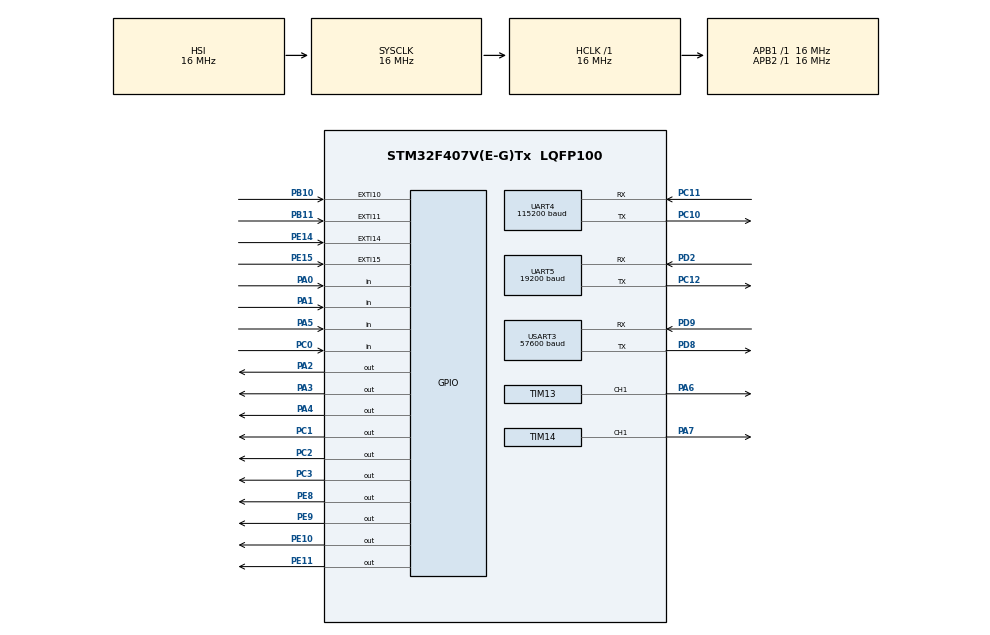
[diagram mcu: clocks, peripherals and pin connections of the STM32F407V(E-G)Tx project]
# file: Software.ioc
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Mcu.Family=STM32F4
NVIC.USART3_IRQn=true\:10\:0\:true\:false\:true\:true\:true\:true
Dma.USART3_RX.5.PeriphDataAlignment=DMA_PDATAALIGN_BYTE
PA6.GPIO_ModeDefaultPP=GPIO_MODE_AF_OD
Dma.UART5_TX.3.MemDataAlignment=DMA_MDATAALIGN_BYTE
PH0-OSC_IN.Signal=RCC_OSC_IN
VP_SYS_VS_tim6.Mode=TIM6
RCC.CortexFreq_Value=16000000
Dma.UART4_TX.2.Direction=DMA_MEMORY_TO_PERIPH
NVIC.TIM6_DAC_IRQn=true\:0\:0\:false\:false\:true\:false\:true\:true
TIM14.OCPolarity_1=TIM_OCPOLARITY_LOW
Dma.USART3_TX.1.MemInc=DMA_MINC_ENABLE
NVIC.DMA1_Stream2_IRQn=true\:5\:0\:false\:false\:true\:true\:false\:true
PC10.Signal=UART4_TX
PC12.Signal=UART5_TX
Dma.USART3_TX.1.PeriphDataAlignment=DMA_PDATAALIGN_BYTE
PA2.GPIO_Speed=GPIO_SPEED_FREQ_LOW
Dma.USART3_TX.1.Instance=DMA1_Stream3
PA3.GPIO_Speed=GPIO_SPEED_FREQ_LOW
PB11.Signal=GPXTI11
NVIC.DMA1_Stream4_IRQn=true\:5\:0\:false\:false\:true\:true\:false\:true
PD9.Mode=Asynchronous
TIM13.AutoReloadPreload=TIM_AUTORELOAD_PRELOAD_ENABLE
SH.S_TIM13_CH1.0=TIM13_CH1,PWM Generation1 CH1
Dma.UART5_TX.3.Direction=DMA_MEMORY_TO_PERIPH
ProjectManager.StackSize=0x400
PC3.PinState=GPIO_PIN_SET
VP_FREERTOS_VS_CMSIS_V2.Mode=CMSIS_V2
NVIC.UART5_IRQn=true\:10\:0\:true\:false\:true\:true\:true\:true
Dma.USART3_RX.5.MemInc=DMA_MINC_ENABLE
Dma.UART5_RX.4.MemDataAlignment=DMA_MDATAALIGN_BYTE
FREERTOS.configENABLE_FPU=1
Dma.UART5_TX.3.MemInc=DMA_MINC_ENABLE
USART3.BaudRate=57600
SH.S_TIM14_CH1.0=TIM14_CH1,PWM Generation1 CH1
UART4.BaudRate=115200
Dma.UART5_TX.3.FIFOMode=DMA_FIFOMODE_DISABLE
PC3.Signal=GPIO_Output
PD8.Signal=USART3_TX
PC1.PinState=GPIO_PIN_SET
RCC.AHBFreq_Value=16000000
PH0-OSC_IN.Mode=HSE-External-Oscillator
NVIC.EXTI15_10_IRQn=true\:5\:0\:true\:false\:true\:true\:true\:true
RCC.HSE_VALUE=25000000
NVIC.TIM8_TRG_COM_TIM14_IRQn=true\:5\:0\:false\:false\:true\:true\:true\:true
Dma.USART3_TX.1.Mode=DMA_NORMAL
TIM13.Pulse=42*10
TIM14.Period=42*20-1
Dma.UART4_RX.0.MemDataAlignment=DMA_MDATAALIGN_BYTE
PA4.GPIO_Speed=GPIO_SPEED_FREQ_LOW
Dma.UART4_TX.2.Instance=DMA1_Stream4
PA2.PinState=GPIO_PIN_SET
PC14-OSC32_IN.Mode=LSE-External-Oscillator
PE9.Signal=GPIO_Output
PA14.Mode=Serial_Wire
Dma.UART5_RX.4.Direction=DMA_PERIPH_TO_MEMORY
Dma.UART5_TX.3.Priority=DMA_PRIORITY_LOW
Dma.UART4_RX.0.PeriphDataAlignment=DMA_PDATAALIGN_BYTE
Dma.UART5_RX.4.Mode=DMA_NORMAL
PE10.Signal=GPIO_Output
Dma.USART3_TX.1.FIFOMode=DMA_FIFOMODE_DISABLE
Dma.USART3_TX.1.Priority=DMA_PRIORITY_LOW
NVIC.DMA1_Stream7_IRQn=true\:5\:0\:false\:false\:true\:true\:false\:true
Dma.UART4_TX.2.MemDataAlignment=DMA_MDATAALIGN_BYTE
Dma.UART4_TX.2.PeriphInc=DMA_PINC_DISABLE
PH1-OSC_OUT.Mode=HSE-External-Oscillator
Mcu.Package=LQFP100
PA6.Signal=S_TIM13_CH1
NVIC.TimeBase=TIM6_DAC_IRQn
PA2.GPIO_ModeDefaultOutputPP=GPIO_MODE_OUTPUT_OD
Dma.USART3_RX.5.Priority=DMA_PRIORITY_LOW
NVIC.TimeBaseIP=TIM6
PC11.Mode=Asynchronous
PA4.GPIO_ModeDefaultOutputPP=GPIO_MODE_OUTPUT_OD
Dma.UART4_TX.2.FIFOMode=DMA_FIFOMODE_DISABLE
Dma.Request2=UART4_TX
PC2.GPIO_ModeDefaultOutputPP=GPIO_MODE_OUTPUT_OD
Dma.Request1=USART3_TX
Dma.Request4=UART5_RX
Dma.Request3=UART5_TX
Dma.Request5=USART3_RX
NVIC.DMA1_Stream0_IRQn=true\:5\:0\:false\:false\:true\:true\:false\:true
UART5.BaudRate=19200
VP_TIM14_VS_ClockSourceINT.Mode=Enable_Timer
Dma.USART3_TX.1.PeriphInc=DMA_PINC_DISABLE
TIM14.Pulse=42*10
Dma.Request0=UART4_RX
Dma.UART4_TX.2.Mode=DMA_NORMAL
PA3.Signal=GPIO_Output
NVIC.UART4_IRQn=true\:10\:0\:true\:false\:true\:true\:true\:true
Dma.UART5_TX.3.Mode=DMA_NORMAL
Dma.UART4_RX.0.MemInc=DMA_MINC_ENABLE
PC15-OSC32_OUT.Mode=LSE-External-Oscillator
Dma.USART3_TX.1.MemDataAlignment=DMA_MDATAALIGN_BYTE
PA3.GPIO_ModeDefaultOutputPP=GPIO_MODE_OUTPUT_OD
FREERTOS.Tasks01=defaultTask,24,128,StartDefaultTask,Default,NULL,Dynamic,NULL,NULL
Dma.UART5_TX.3.PeriphDataAlignment=DMA_PDATAALIGN_BYTE
PC11.Signal=UART4_RX
Dma.UART4_RX.0.Mode=DMA_NORMAL
PC2.Signal=GPIO_Output
PC10.Mode=Asynchronous
Dma.USART3_RX.5.Instance=DMA1_Stream1
Dma.UART4_TX.2.PeriphDataAlignment=DMA_PDATAALIGN_BYTE
PD9.Signal=USART3_RX
Dma.UART4_TX.2.Priority=DMA_PRIORITY_LOW
NVIC.DMA1_Stream1_IRQn=true\:5\:0\:false\:false\:true\:true\:false\:true
UART5.VirtualMode=Asynchronous
PC0.Signal=GPIO_Input
Dma.UART5_RX.4.MemInc=DMA_MINC_ENABLE
UART4.VirtualMode=Asynchronous
PC14-OSC32_IN.Signal=RCC_OSC32_IN
PA0-WKUP.Signal=GPIO_Input
PA7.GPIO_ModeDefaultPP=GPIO_MODE_AF_OD
Dma.UART5_TX.3.Instance=DMA1_Stream7
PA13.Signal=SYS_JTMS-SWDIO
Dma.UART4_TX.2.MemInc=DMA_MINC_ENABLE
PA4.PinState=GPIO_PIN_SET
Dma.UART4_RX.0.Direction=DMA_PERIPH_TO_MEMORY
TIM13.Channel=TIM_CHANNEL_1
ProjectManager.TargetToolchain=MDK-ARM V5.27
Dma.USART3_RX.5.FIFOMode=DMA_FIFOMODE_DISABLE
Dma.UART4_RX.0.PeriphInc=DMA_PINC_DISABLE
PE11.Signal=GPIO_Output
PC15-OSC32_OUT.Signal=RCC_OSC32_OUT
PD8.Mode=Asynchronous
Dma.USART3_RX.5.PeriphInc=DMA_PINC_DISABLE
PA1.Signal=GPIO_Input
Dma.UART5_RX.4.PeriphInc=DMA_PINC_DISABLE
PB10.Signal=GPXTI10
PD2.Mode=Asynchronous
PA5.Signal=GPIO_Input
PC12.Mode=Asynchronous
board=custom
Dma.USART3_RX.5.Direction=DMA_PERIPH_TO_MEMORY
RCC.VCOOutputFreq_Value=192000000
TIM13.Period=42*20-1
Dma.UART4_RX.0.FIFOMode=DMA_FIFOMODE_DISABLE
Dma.UART4_RX.0.Priority=DMA_PRIORITY_LOW
VP_TIM13_VS_ClockSourceINT.Mode=Enable_Timer
RCC.APB2Freq_Value=16000000
PE14.Signal=GPXTI14
PE15.Signal=GPXTI15
TIM14.Channel=TIM_CHANNEL_1
PE8.Signal=GPIO_Output
PH1-OSC_OUT.Signal=RCC_OSC_OUT
Dma.UART5_RX.4.Instance=DMA1_Stream0
PA13.Mode=Serial_Wire
Mcu.Name=STM32F407V(E-G)Tx
PA2.Signal=GPIO_Output
PA4.Signal=GPIO_Output
RCC.SYSCLKFreq_VALUE=16000000
Dma.UART5_RX.4.PeriphDataAlignment=DMA_PDATAALIGN_BYTE
USART3.Mode=MODE_TX_RX
PC2.PinState=GPIO_PIN_SET
Dma.UART5_RX.4.FIFOMode=DMA_FIFOMODE_DISABLE
USART3.VirtualMode=VM_ASYNC
Dma.UART5_RX.4.Priority=DMA_PRIORITY_LOW
Dma.UART5_TX.3.PeriphInc=DMA_PINC_DISABLE
PA14.Signal=SYS_JTCK-SWCLK
ProjectManager.HeapSize=0x200
Dma.USART3_RX.5.Mode=DMA_NORMAL
RCC.HSI_VALUE=16000000
NVIC.TIM8_UP_TIM13_IRQn=true\:5\:0\:false\:false\:true\:true\:true\:true
PC1.GPIO_ModeDefaultOutputPP=GPIO_MODE_OUTPUT_OD
NVIC.PriorityGroup=NVIC_PRIORITYGROUP_4
Dma.USART3_TX.1.Direction=DMA_MEMORY_TO_PERIPH
TIM13.OCPolarity_1=TIM_OCPOLARITY_LOW
Dma.UART4_RX.0.Instance=DMA1_Stream2
PA3.PinState=GPIO_PIN_SET
NVIC.DMA1_Stream3_IRQn=true\:5\:0\:false\:false\:true\:true\:false\:true
Dma.USART3_RX.5.MemDataAlignment=DMA_MDATAALIGN_BYTE
PC3.GPIO_ModeDefaultOutputPP=GPIO_MODE_OUTPUT_OD
PD2.Signal=UART5_RX
RCC.APB1Freq_Value=16000000
VP_CRC_VS_CRC.Mode=CRC_Activate
PC1.Signal=GPIO_Output
PA7.Signal=S_TIM14_CH1

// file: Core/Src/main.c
/* USER CODE BEGIN Header */
/**
  ******************************************************************************
  * @file           : main.c
  * @brief          : Main program body
  ******************************************************************************
  * @attention
  *
  * <h2><center>&copy; Copyright (c) 2021 STMicroelectronics.
  * All rights reserved.</center></h2>
  *
  * This software component is licensed by ST under Ultimate Liberty license
  * SLA0044, the "License"; You may not use this file except in compliance with
  * the License. You may obtain a copy of the License at:
  *                             www.st.com/SLA0044
  *
  ******************************************************************************
  */
/* USER CODE END Header */
#include "main.h"
#include "cmsis_os.h"

/* USER CODE BEGIN Includes */
#include <string.h>
#include <stdlib.h>
#include "semphr.h"
#include "print.h"
#include "tempc.h"
#include "stepper.h"
#include "stream_buffer.h"

/* USER CODE END Includes */

CRC_HandleTypeDef hcrc;

TIM_HandleTypeDef htim13;
TIM_HandleTypeDef htim14;

UART_HandleTypeDef huart4;
UART_HandleTypeDef huart5;
UART_HandleTypeDef huart3;
DMA_HandleTypeDef hdma_uart4_rx;
DMA_HandleTypeDef hdma_uart4_tx;
DMA_HandleTypeDef hdma_uart5_tx;
DMA_HandleTypeDef hdma_uart5_rx;
DMA_HandleTypeDef hdma_usart3_tx;
DMA_HandleTypeDef hdma_usart3_rx;

/* Definitions for defaultTask */
osThreadId_t defaultTaskHandle;
const osThreadAttr_t defaultTask_attributes = {
  .name = "defaultTask",
  .priority = (osPriority_t) osPriorityNormal,
  .stack_size = 128 * 4
};
/* USER CODE BEGIN PV */
osSemaphoreId_t ReceiveBufferBusyBiSemHandle;
osSemaphoreId_t StepperBusyBiSemHandle;
float REALTEMP[2];

uint8_t FluorDataReady=0;

/* USER CODE END PV */

void SystemClock_Config(void);
static void MX_GPIO_Init(void);
static void MX_DMA_Init(void);
static void MX_UART4_Init(void);
static void MX_UART5_Init(void);
static void MX_USART3_UART_Init(void);
static void MX_TIM13_Init(void);
static void MX_TIM14_Init(void);
static void MX_CRC_Init(void);
void StartDefaultTask(void *argument);

int main(void)
{

  /* MCU Configuration--------------------------------------------------------*/

  /* Reset of all peripherals, Initializes the Flash interface and the Systick. */
  HAL_Init();

  /* Configure the system clock */
  SystemClock_Config();

  /* Initialize all configured peripherals */
  MX_GPIO_Init();
  MX_DMA_Init();
  MX_UART4_Init();
  MX_UART5_Init();
  MX_USART3_UART_Init();
  MX_TIM13_Init();
  MX_TIM14_Init();
  MX_CRC_Init();
  /* USER CODE BEGIN 2 */
  STEPPER_Init();
  HAL_NVIC_EnableIRQ(TIM8_TRG_COM_TIM14_IRQn);
  HAL_NVIC_EnableIRQ(TIM8_UP_TIM13_IRQn);

  /* USER CODE END 2 */

  /* Init scheduler */
  osKernelInitialize();

  /* USER CODE BEGIN RTOS_SEMAPHORES */
  /* add semaphores, ... */
  ReceiveBufferBusyBiSemHandle = xSemaphoreCreateBinary();
  StepperBusyBiSemHandle = xSemaphoreCreateBinary();
  // FluorSendSuccBiSemHandle = xSemaphoreCreateBinary();
  vSemaphoreCreateBinary(PrintBusyBiSemHandle);
  /* USER CODE END RTOS_SEMAPHORES */

  /* Create the thread(s) */
  /* creation of defaultTask */
  defaultTaskHandle = osThreadNew(StartDefaultTask, NULL, &defaultTask_attributes);

  /* USER CODE BEGIN RTOS_THREADS */
  /* add threads, ... */
  tempcTaskHandle = osThreadNew(StartTempcTask, NULL, &tempcTask_attributes);
  stepperTaskHandle = osThreadNew(StartStepperTask, NULL, &tempcTask_attributes);
  /* USER CODE END RTOS_THREADS */

  /* Start scheduler */
  osKernelStart();

  /* We should never get here as control is now taken by the scheduler */
  /* Infinite loop */
  while (1)
  {

  }
}

void SystemClock_Config(void)
{
  RCC_OscInitTypeDef RCC_OscInitStruct = {0};
  RCC_ClkInitTypeDef RCC_ClkInitStruct = {0};

  /** Configure the main internal regulator output voltage
  */
  __HAL_RCC_PWR_CLK_ENABLE();
  __HAL_PWR_VOLTAGESCALING_CONFIG(PWR_REGULATOR_VOLTAGE_SCALE1);
  /** Initializes the RCC Oscillators according to the specified parameters
  * in the RCC_OscInitTypeDef structure.
  */
  RCC_OscInitStruct.OscillatorType = RCC_OSCILLATORTYPE_HSI;
  RCC_OscInitStruct.HSIState = RCC_HSI_ON;
  RCC_OscInitStruct.HSICalibrationValue = RCC_HSICALIBRATION_DEFAULT;
  RCC_OscInitStruct.PLL.PLLState = RCC_PLL_NONE;
  if (HAL_RCC_OscConfig(&RCC_OscInitStruct) != HAL_OK)
  {
    Error_Handler();
  }
  /** Initializes the CPU, AHB and APB buses clocks
  */
  RCC_ClkInitStruct.ClockType = RCC_CLOCKTYPE_HCLK|RCC_CLOCKTYPE_SYSCLK
                              |RCC_CLOCKTYPE_PCLK1|RCC_CLOCKTYPE_PCLK2;
  RCC_ClkInitStruct.SYSCLKSource = RCC_SYSCLKSOURCE_HSI;
  RCC_ClkInitStruct.AHBCLKDivider = RCC_SYSCLK_DIV1;
  RCC_ClkInitStruct.APB1CLKDivider = RCC_HCLK_DIV1;
  RCC_ClkInitStruct.APB2CLKDivider = RCC_HCLK_DIV1;

  if (HAL_RCC_ClockConfig(&RCC_ClkInitStruct, FLASH_LATENCY_0) != HAL_OK)
  {
    Error_Handler();
  }
}

static void MX_CRC_Init(void)
{

  hcrc.Instance = CRC;
  if (HAL_CRC_Init(&hcrc) != HAL_OK)
  {
    Error_Handler();
  }

}

static void MX_TIM13_Init(void)
{

  TIM_OC_InitTypeDef sConfigOC = {0};

  htim13.Instance = TIM13;
  htim13.Init.Prescaler = 0;
  htim13.Init.CounterMode = TIM_COUNTERMODE_UP;
  htim13.Init.Period = 42*20-1;
  htim13.Init.ClockDivision = TIM_CLOCKDIVISION_DIV1;
  htim13.Init.AutoReloadPreload = TIM_AUTORELOAD_PRELOAD_ENABLE;
  if (HAL_TIM_Base_Init(&htim13) != HAL_OK)
  {
    Error_Handler();
  }
  if (HAL_TIM_PWM_Init(&htim13) != HAL_OK)
  {
    Error_Handler();
  }
  sConfigOC.OCMode = TIM_OCMODE_PWM1;
  sConfigOC.Pulse = 42*10;
  sConfigOC.OCPolarity = TIM_OCPOLARITY_LOW;
  sConfigOC.OCFastMode = TIM_OCFAST_DISABLE;
  if (HAL_TIM_PWM_ConfigChannel(&htim13, &sConfigOC, TIM_CHANNEL_1) != HAL_OK)
  {
    Error_Handler();
  }
  HAL_TIM_MspPostInit(&htim13);

}

static void MX_TIM14_Init(void)
{

  TIM_OC_InitTypeDef sConfigOC = {0};

  htim14.Instance = TIM14;
  htim14.Init.Prescaler = 0;
  htim14.Init.CounterMode = TIM_COUNTERMODE_UP;
  htim14.Init.Period = 42*20-1;
  htim14.Init.ClockDivision = TIM_CLOCKDIVISION_DIV1;
  htim14.Init.AutoReloadPreload = TIM_AUTORELOAD_PRELOAD_DISABLE;
  if (HAL_TIM_Base_Init(&htim14) != HAL_OK)
  {
    Error_Handler();
  }
  if (HAL_TIM_PWM_Init(&htim14) != HAL_OK)
  {
    Error_Handler();
  }
  sConfigOC.OCMode = TIM_OCMODE_PWM1;
  sConfigOC.Pulse = 42*10;
  sConfigOC.OCPolarity = TIM_OCPOLARITY_LOW;
  sConfigOC.OCFastMode = TIM_OCFAST_DISABLE;
  if (HAL_TIM_PWM_ConfigChannel(&htim14, &sConfigOC, TIM_CHANNEL_1) != HAL_OK)
  {
    Error_Handler();
  }
  HAL_TIM_MspPostInit(&htim14);

}

static void MX_UART4_Init(void)
{

  huart4.Instance = UART4;
  huart4.Init.BaudRate = 115200;
  huart4.Init.WordLength = UART_WORDLENGTH_8B;
  huart4.Init.StopBits = UART_STOPBITS_1;
  huart4.Init.Parity = UART_PARITY_NONE;
  huart4.Init.Mode = UART_MODE_TX_RX;
  huart4.Init.HwFlowCtl = UART_HWCONTROL_NONE;
  huart4.Init.OverSampling = UART_OVERSAMPLING_16;
  if (HAL_UART_Init(&huart4) != HAL_OK)
  {
    Error_Handler();
  }

}

static void MX_UART5_Init(void)
{

  huart5.Instance = UART5;
  huart5.Init.BaudRate = 19200;
  huart5.Init.WordLength = UART_WORDLENGTH_8B;
  huart5.Init.StopBits = UART_STOPBITS_1;
  huart5.Init.Parity = UART_PARITY_NONE;
  huart5.Init.Mode = UART_MODE_TX_RX;
  huart5.Init.HwFlowCtl = UART_HWCONTROL_NONE;
  huart5.Init.OverSampling = UART_OVERSAMPLING_16;
  if (HAL_UART_Init(&huart5) != HAL_OK)
  {
    Error_Handler();
  }

}

static void MX_USART3_UART_Init(void)
{

  huart3.Instance = USART3;
  huart3.Init.BaudRate = 57600;
  huart3.Init.WordLength = UART_WORDLENGTH_8B;
  huart3.Init.StopBits = UART_STOPBITS_1;
  huart3.Init.Parity = UART_PARITY_NONE;
  huart3.Init.Mode = UART_MODE_TX_RX;
  huart3.Init.HwFlowCtl = UART_HWCONTROL_NONE;
  huart3.Init.OverSampling = UART_OVERSAMPLING_16;
  if (HAL_UART_Init(&huart3) != HAL_OK)
  {
    Error_Handler();
  }

}

static void MX_DMA_Init(void)
{

  /* DMA controller clock enable */
  __HAL_RCC_DMA1_CLK_ENABLE();

  /* DMA interrupt init */
  /* DMA1_Stream0_IRQn interrupt configuration */
  HAL_NVIC_SetPriority(DMA1_Stream0_IRQn, 5, 0);
  HAL_NVIC_EnableIRQ(DMA1_Stream0_IRQn);
  /* DMA1_Stream1_IRQn interrupt configuration */
  HAL_NVIC_SetPriority(DMA1_Stream1_IRQn, 5, 0);
  HAL_NVIC_EnableIRQ(DMA1_Stream1_IRQn);
  /* DMA1_Stream2_IRQn interrupt configuration */
  HAL_NVIC_SetPriority(DMA1_Stream2_IRQn, 5, 0);
  HAL_NVIC_EnableIRQ(DMA1_Stream2_IRQn);
  /* DMA1_Stream3_IRQn interrupt configuration */
  HAL_NVIC_SetPriority(DMA1_Stream3_IRQn, 5, 0);
  HAL_NVIC_EnableIRQ(DMA1_Stream3_IRQn);
  /* DMA1_Stream4_IRQn interrupt configuration */
  HAL_NVIC_SetPriority(DMA1_Stream4_IRQn, 5, 0);
  HAL_NVIC_EnableIRQ(DMA1_Stream4_IRQn);
  /* DMA1_Stream7_IRQn interrupt configuration */
  HAL_NVIC_SetPriority(DMA1_Stream7_IRQn, 5, 0);
  HAL_NVIC_EnableIRQ(DMA1_Stream7_IRQn);

}

static void MX_GPIO_Init(void)
{
  GPIO_InitTypeDef GPIO_InitStruct = {0};

  /* GPIO Ports Clock Enable */
  __HAL_RCC_GPIOC_CLK_ENABLE();
  __HAL_RCC_GPIOH_CLK_ENABLE();
  __HAL_RCC_GPIOA_CLK_ENABLE();
  __HAL_RCC_GPIOE_CLK_ENABLE();
  __HAL_RCC_GPIOB_CLK_ENABLE();
  __HAL_RCC_GPIOD_CLK_ENABLE();

  /*Configure GPIO pin Output Level */
  HAL_GPIO_WritePin(GPIOC, GPIO_PIN_1|GPIO_PIN_2|GPIO_PIN_3, GPIO_PIN_SET);

  /*Configure GPIO pin Output Level */
  HAL_GPIO_WritePin(GPIOA, GPIO_PIN_2|GPIO_PIN_3|GPIO_PIN_4, GPIO_PIN_SET);

  /*Configure GPIO pin Output Level */
  HAL_GPIO_WritePin(GPIOE, GPIO_PIN_8|GPIO_PIN_9|GPIO_PIN_10|GPIO_PIN_11, GPIO_PIN_RESET);

  /*Configure GPIO pin : PC0 */
  GPIO_InitStruct.Pin = GPIO_PIN_0;
  GPIO_InitStruct.Mode = GPIO_MODE_INPUT;
  GPIO_InitStruct.Pull = GPIO_NOPULL;
  HAL_GPIO_Init(GPIOC, &GPIO_InitStruct);

  /*Configure GPIO pins : PC1 PC2 PC3 */
  GPIO_InitStruct.Pin = GPIO_PIN_1|GPIO_PIN_2|GPIO_PIN_3;
  GPIO_InitStruct.Mode = GPIO_MODE_OUTPUT_OD;
  GPIO_InitStruct.Pull = GPIO_NOPULL;
  GPIO_InitStruct.Speed = GPIO_SPEED_FREQ_LOW;
  HAL_GPIO_Init(GPIOC, &GPIO_InitStruct);

  /*Configure GPIO pins : PA0 PA1 PA5 */
  GPIO_InitStruct.Pin = GPIO_PIN_0|GPIO_PIN_1|GPIO_PIN_5;
  GPIO_InitStruct.Mode = GPIO_MODE_INPUT;
  GPIO_InitStruct.Pull = GPIO_NOPULL;
  HAL_GPIO_Init(GPIOA, &GPIO_InitStruct);

  /*Configure GPIO pins : PA2 PA3 PA4 */
  GPIO_InitStruct.Pin = GPIO_PIN_2|GPIO_PIN_3|GPIO_PIN_4;
  GPIO_InitStruct.Mode = GPIO_MODE_OUTPUT_OD;
  GPIO_InitStruct.Pull = GPIO_NOPULL;
  GPIO_InitStruct.Speed = GPIO_SPEED_FREQ_LOW;
  HAL_GPIO_Init(GPIOA, &GPIO_InitStruct);

  /*Configure GPIO pins : PE8 PE9 PE10 PE11 */
  GPIO_InitStruct.Pin = GPIO_PIN_8|GPIO_PIN_9|GPIO_PIN_10|GPIO_PIN_11;
  GPIO_InitStruct.Mode = GPIO_MODE_OUTPUT_PP;
  GPIO_InitStruct.Pull = GPIO_NOPULL;
  GPIO_InitStruct.Speed = GPIO_SPEED_FREQ_LOW;
  HAL_GPIO_Init(GPIOE, &GPIO_InitStruct);

  /*Configure GPIO pins : PE14 PE15 */
  GPIO_InitStruct.Pin = GPIO_PIN_14|GPIO_PIN_15;
  GPIO_InitStruct.Mode = GPIO_MODE_IT_RISING;
  GPIO_InitStruct.Pull = GPIO_NOPULL;
  HAL_GPIO_Init(GPIOE, &GPIO_InitStruct);

  /*Configure GPIO pins : PB10 PB11 */
  GPIO_InitStruct.Pin = GPIO_PIN_10|GPIO_PIN_11;
  GPIO_InitStruct.Mode = GPIO_MODE_IT_RISING;
  GPIO_InitStruct.Pull = GPIO_NOPULL;
  HAL_GPIO_Init(GPIOB, &GPIO_InitStruct);

  /* EXTI interrupt init*/
  HAL_NVIC_SetPriority(EXTI15_10_IRQn, 5, 0);

}

void StartDefaultTask(void *argument)
{
  /* USER CODE BEGIN 5 */
  static uint8_t DBG_ReceiveBuffer[32];
  int32_t i;
  for(i=0; i<16; i++)
  {
    fluor_handle[i].IsActivated = 1;
    fluor_handle[i].value = -1.0f;
  }
  /* Infinite loop */
  for(;;)
  {
    memset(DBG_ReceiveBuffer, 0x0, 32);
    __HAL_UART_ENABLE_IT(&huart4, UART_IT_IDLE);
    HAL_UART_Receive_DMA(&huart4, DBG_ReceiveBuffer, 0x20);
    xSemaphoreTake(ReceiveBufferBusyBiSemHandle, portMAX_DELAY);

    switch(DBG_ReceiveBuffer[2])
    {
      case 0x00: // Stop TEMPC cycle and restart thread.
      {
        // print_uart(&huart4, "0x00\r\n");
        TEMPC_Stop(1);
        TEMPC_Stop(2);
        TEMPC_FAN_NEN = 0;
        if(NULL!=tempcTaskHandle)
        {
          vTaskDelete(tempcTaskHandle);
        }
        tempcTaskHandle = osThreadNew(StartTempcTask, NULL, &tempcTask_attributes);
        break;
      }
      case 0x01: // Set reference and then move to the sampling port.
      {
        if(errQUEUE_FULL==xQueueSend(StepperMessageQueueHandle, DBG_ReceiveBuffer+3, 100))
        {
          print_uart(&huart4, "Stage Queue full!");
        }
        break;
      }
      case 0x02: // Start thermalcycle.
      {
        if(errQUEUE_FULL==xQueueSend(TempcMessageQueueHandle, DBG_ReceiveBuffer+3, 100))
        {
          print_uart(&huart4, "Stage Queue full!");
        }
        break;
      }
      case 0x03: // Query real time data
      {
        switch(DBG_ReceiveBuffer[3])
        {
          case 0x00:
          {
            REALTEMP[0] = TEMPC_GetTemperature(1);
            REALTEMP[1] = TEMPC_GetTemperature(2);
            print_uart(&huart4, "TEM%05.2f_%05.2f\r\n", REALTEMP[0], REALTEMP[1]);
            break;
          }
          case 0x01:
          {
            if(FluorDataReady)
            {
              // print_uart(&huart4, "FLU");
              // HAL_UART_Transmit(&huart4, (uint8_t *)fluor_handle, 16*sizeof(FluorHandle_TypeDef), 50);
              FluorDataReady = 0;
              // print_uart(&huart4, "FLU");
              // for(i=0; i<15; i++)
              // {
              //   print_uart(&huart4, "%f_", fluor_handle[i].value);
              // }
              // print_uart(&huart4, "%f\r\n", fluor_handle[15].value);
              // xSemaphoreGive(FluorSendSuccBiSemHandle); // Continue thermal cycle after fluor data has been sent
            }
            else
            {
              __nop();
              print_uart(&huart4, "NON\r\n");
            }
            break;
          }
        }
        break;
      }
      case 0x04: // Enable channel
      {
        for(i=0; i<16; i++)
        {
          fluor_handle[i].IsActivated = DBG_ReceiveBuffer[i+3];
          fluor_handle[i].value = -1.0f;
        }
      }
      default:
      {
        print_uart(&huart4, "Hello!\r\n");
      }
    }
  }
  /* USER CODE END 5 */
}

void Error_Handler(void)
{
  __disable_irq();
  while (1)
  {
  }
}

/************************ (C) COPYRIGHT STMicroelectronics *****END OF FILE****/

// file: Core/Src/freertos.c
/* USER CODE BEGIN Header */
/**
  ******************************************************************************
  * File Name          : freertos.c
  * Description        : Code for freertos applications
  ******************************************************************************
  * @attention
  *
  * <h2><center>&copy; Copyright (c) 2021 STMicroelectronics.
  * All rights reserved.</center></h2>
  *
  * This software component is licensed by ST under Ultimate Liberty license
  * SLA0044, the "License"; You may not use this file except in compliance with
  * the License. You may obtain a copy of the License at:
  *                             www.st.com/SLA0044
  *
  ******************************************************************************
  */
/* USER CODE END Header */

#include "FreeRTOS.h"
#include "task.h"
#include "main.h"

/* USER CODE BEGIN Includes */
#include <stdlib.h>
#include <math.h>
#include "print.h"
#include "tempc.h"
#include "fluor.h"
#include "stepper.h"

/* USER CODE END Includes */

/* USER CODE BEGIN Variables */
osThreadId_t tempcTaskHandle;
const osThreadAttr_t tempcTask_attributes = {
  .name = "tempcTask",
  .priority = (osPriority_t) osPriorityNormal,
  .stack_size = 128 * 8
};
osThreadId_t stepperTaskHandle;
const osThreadAttr_t stepperTask_attributes = {
  .name = "stepperTask",
  .priority = (osPriority_t) osPriorityNormal,
  .stack_size = 128 * 8
};

QueueHandle_t TempcMessageQueueHandle;
QueueHandle_t StepperMessageQueueHandle;
osSemaphoreId_t FluorSendSuccBiSemHandle;
FluorHandle_TypeDef fluor_handle[16];

/* USER CODE END Variables */

/* USER CODE BEGIN FunctionPrototypes */
static void scan_channels(void)
{
  int32_t i;

  STEPPER_MoveRelative(0, -23);
    vTaskDelay(300);
  for(i=0; i<7; i++)
  {
    // if(fluor_handle[i].IsActivated)
    // {
      get_fluor_data(i);
      // xSemaphoreTake(FluorSendSuccBiSemHandle, portMAX_DELAY);
    // }
    STEPPER_MoveRelative(23, 0);
    vTaskDelay(300);
  }
  // if(fluor_handle[i].IsActivated)
  // {
    get_fluor_data(i);
    // xSemaphoreTake(FluorSendSuccBiSemHandle, portMAX_DELAY);
  // }
  STEPPER_MoveRelative(0, -23);
    vTaskDelay(300);
  for(i=8; i<15; i++)
  {
    // if(fluor_handle[i].IsActivated)
    // {
      get_fluor_data(i);
      // xSemaphoreTake(FluorSendSuccBiSemHandle, portMAX_DELAY);
    // }
    STEPPER_MoveRelative(-23, 0);
    vTaskDelay(300);
  }
  // if(fluor_handle[i].IsActivated)
  // {
    get_fluor_data(i);
    // xSemaphoreTake(FluorSendSuccBiSemHandle, portMAX_DELAY);
  // }
  STEPPER_MoveRelative(0, 46);
  vTaskDelay(100);
}

void StartTempcTask(void *argument)
{
  static TEMPC_CommandTypeDef cmd;
  static TEMPC_HandleTypeDef htempc;
  portTickType xLastExecutionTime;
  int32_t i;

  float target, tmp;

  FluorGotBiSemHandle = xSemaphoreCreateBinary();
  TempcRepliedBiSemHandle = xSemaphoreCreateBinary();
  TempcMessageQueueHandle = xQueueCreate(1, sizeof(TEMPC_CommandTypeDef));

  htempc.stages = 2;
  htempc.temp_stage[0] = 95.00f;
  htempc.time_stage[0] = 5000/portTICK_RATE_MS;
  htempc.temp_stage[1] = 60.00f;
  htempc.time_stage[1] = 30000/portTICK_RATE_MS;

  for(;;)
  {
    xQueueReceive(TempcMessageQueueHandle, (void *)&cmd, portMAX_DELAY);
    switch(cmd.cmd)
    {
      case 0x01:
      {
        print_uart(&huart4, "RecSta\r\n");
        TEMPC_FAN_NEN = 1;

        TEMPC_Start(1);
        // print_uart(&huart4, "%s\r\n", TEMPC_ReceiveBuffer);
        TEMPC_Start(2);
        // print_uart(&huart4, "%s\r\n", TEMPC_ReceiveBuffer);

        TEMPC_SetTemperature(1, 52.00f);
        // print_uart(&huart4, "%s\r\n", TEMPC_ReceiveBuffer);
        TEMPC_SetTemperature(2, 52.00f);
        // print_uart(&huart4, "%s\r\n", TEMPC_ReceiveBuffer);
        do
        {
          vTaskDelay(100);
          tmp = (REALTEMP[0]+REALTEMP[1])/2.0f;
          // print_uart(&huart4, "%f\r\n", tmp);
        } while(fabs(tmp-52.00f)>1.0f);
        vTaskDelay(300000);
        TEMPC_SetTemperature(1, 95.00f);
        // print_uart(&huart4, "%s\r\n", TEMPC_ReceiveBuffer);
        TEMPC_SetTemperature(2, 95.00f);
        // print_uart(&huart4, "%s\r\n", TEMPC_ReceiveBuffer);
        do
        {
          vTaskDelay(100);
          tmp = (REALTEMP[0]+REALTEMP[1])/2.0f;
          // print_uart(&huart4, "%f\r\n", tmp);
        } while(fabs(tmp-95.00f)>1.0f);
        vTaskDelay(10000);

        while(cmd.num_of_cycles>0)
        {
          cmd.num_of_cycles --;

          for(i=0; i<htempc.stages; i++)
          {
            target = htempc.temp_stage[i];
            // print_uart(&huart4, "\r\n------%5.2f deg------\r\n", tmp);
            TEMPC_SetTemperature(1, target);
            // print_uart(&huart4, "%s\r\n", TEMPC_ReceiveBuffer);
            TEMPC_SetTemperature(2, target);
            // print_uart(&huart4, "%s\r\n", TEMPC_ReceiveBuffer);
            do
            {
              vTaskDelay(100);
              tmp = (REALTEMP[0]+REALTEMP[1])/2.0f;
              // print_uart(&huart4, "%f\r\n", tmp);
            } while(fabs(tmp-target)>1.0f);
            vTaskDelay(htempc.time_stage[i]);
          }
          scan_channels();
          print_uart(&huart4, "RecOver\r\n");
        }
        TEMPC_Stop(1);
        // print_uart(&huart4, "%s\r\n", TEMPC_ReceiveBuffer);
        TEMPC_Stop(2);
        // print_uart(&huart4, "%s\r\n", TEMPC_ReceiveBuffer);
        TEMPC_FAN_NEN = 0;
        print_uart(&huart4, "Done!\r\n");
        STEPPER_MoveRelative(-65, 182);

        break;
      }
      case 0x02:
      {
        print_uart(&huart4, "RecSta\r\n");
        TEMPC_FAN_NEN = 1;
        TEMPC_Start(1);
        // print_uart(&huart4, "%s\r\n", TEMPC_ReceiveBuffer);
        TEMPC_Start(2);
        // print_uart(&huart4, "%s\r\n", TEMPC_ReceiveBuffer);
        TEMPC_SetTemperature(1, 63.00f);
        // print_uart(&huart4, "%s\r\n", TEMPC_ReceiveBuffer);
        TEMPC_SetTemperature(2, 63.00f);
        // print_uart(&huart4, "%s\r\n", TEMPC_ReceiveBuffer);do
        do {
          vTaskDelay(100);
          tmp = (REALTEMP[0]+REALTEMP[1])/2.0f;
          // print_uart(&huart4, "%f\r\n", tmp);
        } while(fabs(tmp-63.00f)>0.5f);
        for(i=0; i<cmd.num_of_cycles; i++)
        {
          xLastExecutionTime = xTaskGetTickCount();
          scan_channels();
          print_uart(&huart4, "RecOver\r\n");
          vTaskDelayUntil(&xLastExecutionTime, 60000/portTICK_RATE_MS );
        }
        TEMPC_Stop(1);
        // print_uart(&huart4, "%s\r\n", TEMPC_ReceiveBuffer);
        TEMPC_Stop(2);
        // print_uart(&huart4, "%s\r\n", TEMPC_ReceiveBuffer);
        TEMPC_FAN_NEN = 0;
        print_uart(&huart4, "Done!\r\n");
        STEPPER_MoveRelative(-65, 182);
        break;
      }
      case 0x03:
      {
        TEMPC_FAN_NEN = 1;
        break;
      }
      case 0x04:
      {
        TEMPC_FAN_NEN = 0;
      }
    }
  }
}

void StartStepperTask(void *argument)
{
  static StepperCMD_TypeDef cmd;
  StepperMessageQueueHandle = xQueueCreate(4, sizeof(StepperCMD_TypeDef));

  for(;;)
  {
    xQueueReceive(StepperMessageQueueHandle, (void *)&cmd, portMAX_DELAY);
    switch(cmd.cmd)
    {
      case 0x00:
      {
        STEPPER_AWO1 = 1;
        STEPPER_AWO2 = 1;
        hstpr1.State = STEPPER_STATE_READY;
        hstpr2.State = STEPPER_STATE_READY;
        break;
      }
      case 0x01:
      {
        print_uart(&huart4, "Waiting...\r\n");
        // if(GPIO_PIN_SET==HAL_GPIO_ReadPin(GPIOB, 10))
        // {
        //   STEPPER_MoveRelative(0, 23);
        //   vTaskDelay(2000);
        // }
        // if(GPIO_PIN_SET==HAL_GPIO_ReadPin(GPIOB, 11))
        // {
        //   STEPPER_MoveRelative(23, 0);
        //   vTaskDelay(2000);
        // }
        if(GPIO_PIN_SET==HAL_GPIO_ReadPin(GPIOB, GPIO_PIN_11))
        {
          STEPPER_MoveRelative(23, 0);
        }
        do
        {
          HAL_NVIC_EnableIRQ(EXTI15_10_IRQn);
        } while(HAL_OK!=STEPPER_MoveRelative(-32767, -32767));
        vTaskDelay(100);
        while(HAL_OK!=STEPPER_MoveRelative(0, 250));
        vTaskDelay(100);
        print_uart(&huart4, "Done!\r\n");
        break;
      }
      case 0x02:
      {
        STEPPER_MoveRelative(65, -182);
        vTaskDelay(1000);
        break;
      }
      default:
      {
        hstpr1.State = STEPPER_STATE_RESET;
        hstpr2.State = STEPPER_STATE_RESET;
        STEPPER_AWO1 = 0;
        STEPPER_AWO2 = 0;
      }
    }
  }
}

/* USER CODE END FunctionPrototypes */

/************************ (C) COPYRIGHT STMicroelectronics *****END OF FILE****/
